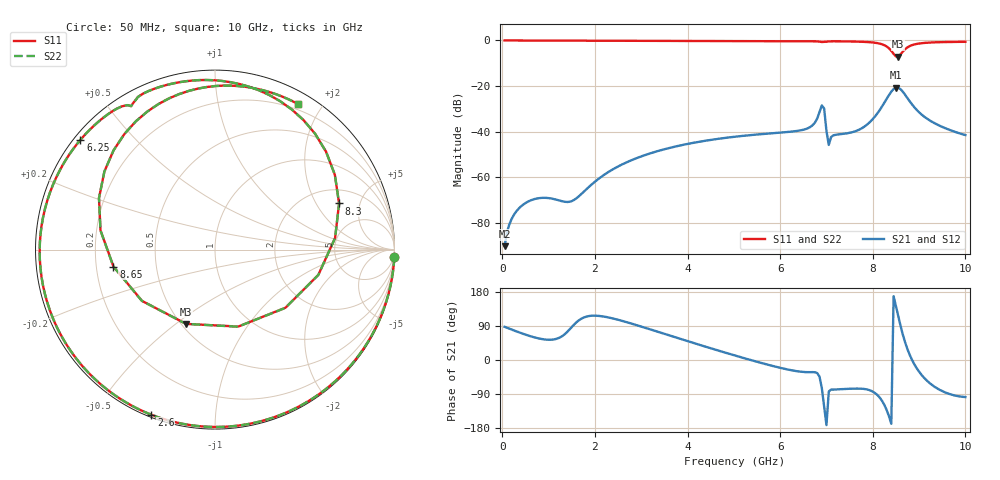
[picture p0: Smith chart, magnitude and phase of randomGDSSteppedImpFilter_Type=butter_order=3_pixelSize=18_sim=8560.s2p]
! freq	dB(S11)	phase(S11)	dB(S12)	phase(S12)
!  dB(S21)	phase(S21)	dB(S22)	phase(S22)
!S-par simulation data
#  GHz  S  DB  R 50
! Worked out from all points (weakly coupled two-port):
!   200 points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, 50 MHz to 10 GHz, reference 50 ohm
!   highest |S21| = -20.67 dB at 8.5 GHz (marker M1); lowest = -90.1 dB at 50 MHz (marker M2)
!   lowest |S11| = -7.1 dB at 8.55 GHz (marker M3), VSWR 2.60, Z = 26.4 - j27.3 ohm
!   |S11| at or under -10 dB: nowhere
!   |S22| runs from -7.0 to 0.0 dB; largest |S21 - S12| = 0
!   S11 on the Smith chart (normalised r, x): 50 MHz: 0, -47; 2.6 GHz: 0.01, -0.69; 6.25 GHz: 0.02, +0.36; 8.3 GHz: 2.83, +3.18; 8.65 GHz: 0.27, -0.08; 10 GHz: 0.14, +1.71
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0.05  -0.00 -2.4  -90.11 87.6  -90.11 87.6  -0.00 -2.4
0.6  -0.04 -28.8  -70.17 63.0  -70.17 63.0  -0.04 -28.8
1.45  -0.08 -67.0  -70.67 80.2  -70.67 80.2  -0.08 -67.0
1.75  -0.09 -79.3  -66.45 111.6  -66.45 111.6  -0.09 -79.3
2.6  -0.12 -111.1  -54.18 102.8  -54.18 102.8  -0.12 -111.1
3.4  -0.15 -137.4  -48.21 72.9  -48.21 72.9  -0.15 -137.4
5.05  -0.21 174.9  -42.11 10.9  -42.11 10.9  -0.21 174.9
6.25  -0.29 140.8  -39.92 -27.2  -39.92 -27.2  -0.29 140.8
6.7  -0.36 126.6  -37.16 -32.0  -37.16 -32.0  -0.36 126.6
6.9  -0.67 120.3  -28.48 -74.1  -28.48 -74.1  -0.67 120.3
6.95  -0.62 119.7  -29.82 -123.8  -29.82 -123.8  -0.62 119.6
7.05  -0.42 116.8  -45.76 -83.1  -45.76 -83.1  -0.42 116.8
7.15  -0.37 112.6  -41.56 -78.1  -41.56 -78.1  -0.37 112.6
7.9  -0.71 74.8  -36.45 -78.5  -36.45 -78.5  -0.71 74.7
8.3  -2.65 20.4  -25.58 -131.9  -25.58 -131.9  -2.65 20.2
8.35  -3.45 5.6  -23.92 -148.4  -23.92 -148.4  -3.45 5.4
8.5  -6.97 -73.2  -20.66 142.6  -20.66 142.6  -6.97 -73.5
8.55  -7.05 -111.2  -20.70 115.9  -20.70 115.9  -7.04 -111.4
8.65  -4.83 -170.5  -22.47 66.6  -22.47 66.6  -4.82 -170.6
8.85  -2.04 135.6  -28.08 -0.3  -28.08 -0.3  -2.04 135.6
9.05  -1.21 111.2  -32.38 -38.8  -32.38 -38.8  -1.21 111.2
10  -0.60 60.4  -41.45 -97.8  -41.45 -97.8  -0.60 60.4
